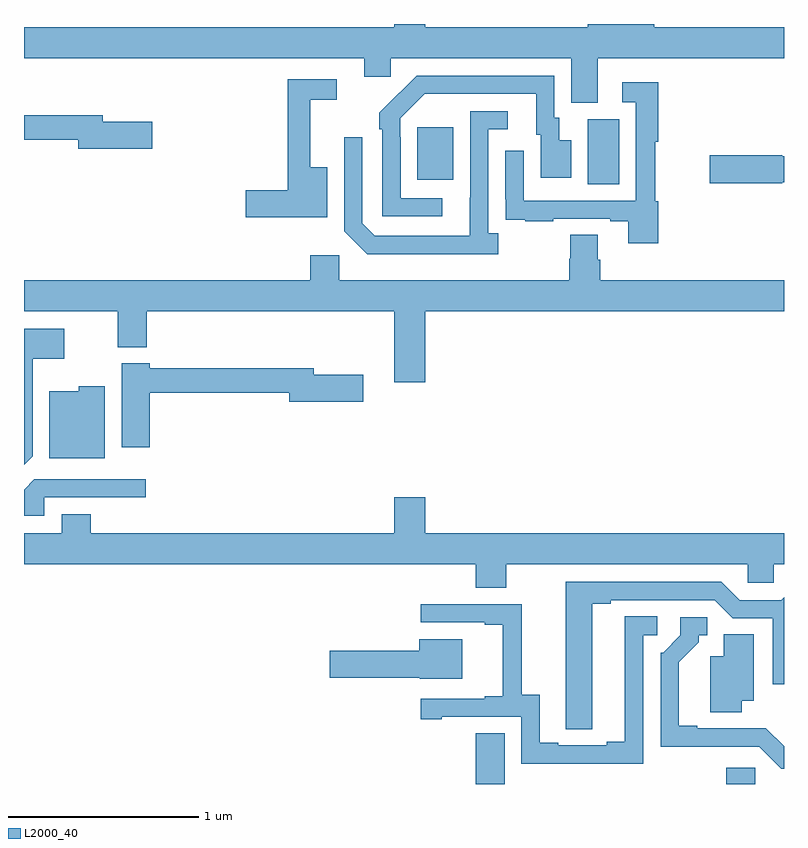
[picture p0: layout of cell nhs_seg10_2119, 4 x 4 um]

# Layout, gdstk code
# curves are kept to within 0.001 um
import gdstk
lib = gdstk.Library(unit=1e-6, precision=1e-09)
def R(c, l, rs):  # rectangles x0, y0, x1, y1
    for r in rs: c.add(gdstk.rectangle(r[:2], r[2:], *l))
def P(c, l, *ps):  # polygons
    for p in ps: c.add(gdstk.Polygon(p, *l))
L2000_40 = (2000, 40)

nhs_seg10_2119 = lib.new_cell('nhs_seg10_2119')
R(nhs_seg10_2119, L2000_40, [(225.377,1292.5,225.529,1292.768), (226.697,1292.5,226.848,1292.586), (225.968,1295.656,226.132,1296), (225.071,1295.681,225.259,1295.956)])
P(nhs_seg10_2119, L2000_40, [(226.021,1296.32),(227,1296.32),(227,1296.484),(226.318,1296.484),(226.318,1296.5),(225.968,1296.5),(225.968,1296.484),(225.112,1296.484),(225.112,1296.5),(224.948,1296.5),(224.948,1296.484),(223,1296.484),(223,1296.32),(224.792,1296.32),(224.792,1296.222),(224.931,1296.222),(224.931,1296.32),(225.881,1296.32),(225.881,1296.085),(226.021,1296.085)],
  [(225.202,1295.583),(224.982,1295.583),(224.982,1295.903),(224.979,1295.903),(224.979,1296.003),(225.108,1296.132),(225.695,1296.132),(225.695,1295.916),(225.719,1295.916),(225.719,1295.691),(225.88,1295.691),(225.88,1295.887),(225.817,1295.887),(225.817,1296.006),(225.792,1296.006),(225.792,1296.228),(225.068,1296.228),(224.871,1296.033),(224.871,1295.945),(224.886,1295.945),(224.886,1295.487),(225.202,1295.487)],
  [(224.596,1295.746),(224.507,1295.746),(224.507,1296.102),(224.647,1296.102),(224.647,1296.21),(224.389,1296.21),(224.389,1295.624),(224.166,1295.624),(224.166,1295.482),(224.596,1295.482)],
  [(226.337,1295.568),(226.322,1295.568),(226.322,1295.88),(226.337,1295.88),(226.337,1296.193),(226.149,1296.193),(226.149,1296.087),(226.221,1296.087),(226.221,1295.571),(225.63,1295.571),(225.63,1295.833),(225.534,1295.833),(225.534,1295.578),(225.535,1295.578),(225.535,1295.469),(225.637,1295.469),(225.637,1295.463),(225.785,1295.463),(225.785,1295.475),(226.085,1295.475),(226.085,1295.463),(226.181,1295.463),(226.181,1295.346),(226.337,1295.346)],
  [(225.496,1295.398),(225.444,1295.398),(225.444,1295.946),(225.547,1295.946),(225.547,1296.042),(225.348,1296.042),(225.347,1295.385),(224.847,1295.385),(224.781,1295.451),(224.781,1295.905),(224.685,1295.905),(224.685,1295.409),(224.806,1295.288),(225.496,1295.288)],
  [(223.675,1295.985),(223.414,1295.985),(223.414,1296.019),(223,1296.019),(223,1295.89),(223.286,1295.89),(223.286,1295.843),(223.675,1295.843)],
  [(226.992,1295.668),(227,1295.668),(227,1295.804),(226.992,1295.804),(226.992,1295.81),(226.608,1295.81),(226.608,1295.663),(226.992,1295.663)],
  [(225.112,1294.988),(227,1294.988),(227,1295.152),(226.034,1295.152),(226.034,1295.258),(226.021,1295.258),(226.021,1295.39),(225.874,1295.39),(225.874,1295.265),(225.869,1295.265),(225.869,1295.152),(224.658,1295.152),(224.658,1295.284),(224.507,1295.284),(224.507,1295.152),(223,1295.152),(223,1294.988),(223.493,1294.988),(223.493,1294.799),(223.646,1294.799),(223.646,1294.988),(224.948,1294.988),(224.948,1294.614),(225.112,1294.614)],
  [(223.045,1294.225),(223.045,1294.739),(223.213,1294.739),(223.213,1294.897),(223,1294.897),(223,1294.18)],
  [(223.661,1294.558),(224.396,1294.558),(224.396,1294.511),(224.785,1294.511),(224.785,1294.653),(224.524,1294.653),(224.524,1294.687),(223.661,1294.687),(223.661,1294.714),(223.514,1294.714),(223.514,1294.272),(223.661,1294.272)],
  [(223.426,1294.594),(223.287,1294.594),(223.287,1294.567),(223.133,1294.567),(223.133,1294.214),(223.426,1294.214)],
  [(223.107,1294.008),(223.642,1294.008),(223.642,1294.104),(223.053,1294.104),(223,1294.05),(223,1293.912),(223.107,1293.912)],
  [(225.537,1293.656),(226.809,1293.656),(226.809,1293.558),(226.947,1293.558),(226.947,1293.656),(227,1293.656),(227,1293.82),(225.112,1293.82),(225.112,1294.009),(224.948,1294.009),(224.948,1293.82),(223.352,1293.82),(223.352,1293.919),(223.199,1293.919),(223.199,1293.82),(223,1293.82),(223,1293.656),(225.377,1293.656),(225.377,1293.532),(225.537,1293.532)],
  [(225.991,1293.448),(226.087,1293.448),(226.087,1293.468),(226.635,1293.468),(226.731,1293.372),(226.941,1293.372),(226.941,1293.024),(227,1293.024),(227,1293.483),(226.985,1293.468),(226.767,1293.468),(226.671,1293.564),(225.851,1293.564),(225.852,1292.788),(225.991,1292.788)],
  [(226.26,1293.282),(226.333,1293.282),(226.333,1293.383),(226.163,1293.383),(226.163,1292.723),(226.067,1292.723),(226.067,1292.703),(225.811,1292.703),(225.811,1292.718),(225.715,1292.718),(225.715,1292.969),(225.621,1292.969),(225.621,1293.447),(225.087,1293.447),(225.087,1293.351),(225.425,1293.351),(225.425,1293.339),(225.521,1293.339),(225.521,1292.962),(225.425,1292.962),(225.425,1292.949),(225.087,1292.949),(225.087,1292.841),(225.199,1292.841),(225.199,1292.853),(225.618,1292.853),(225.618,1292.607),(226.26,1292.607)],
  [(227,1292.698),(226.904,1292.794),(226.543,1292.793),(226.543,1292.806),(226.447,1292.806),(226.447,1293.142),(226.552,1293.247),(226.552,1293.282),(226.597,1293.282),(226.597,1293.378),(226.455,1293.378),(226.455,1293.282),(226.365,1293.192),(226.35,1293.192),(226.35,1292.696),(226.869,1292.697),(226.986,1292.58),(227,1292.58)],
  [(226.777,1292.939),(226.84,1292.939),(226.84,1293.287),(226.682,1293.287),(226.682,1293.172),(226.613,1293.172),(226.613,1292.878),(226.777,1292.878)],
  [(225.307,1293.262),(225.08,1293.262),(225.08,1293.201),(224.61,1293.201),(224.61,1293.059),(225.084,1293.059),(225.084,1293.053),(225.307,1293.053)])

lib.write_gds('nhs_seg10_2119.gds')
